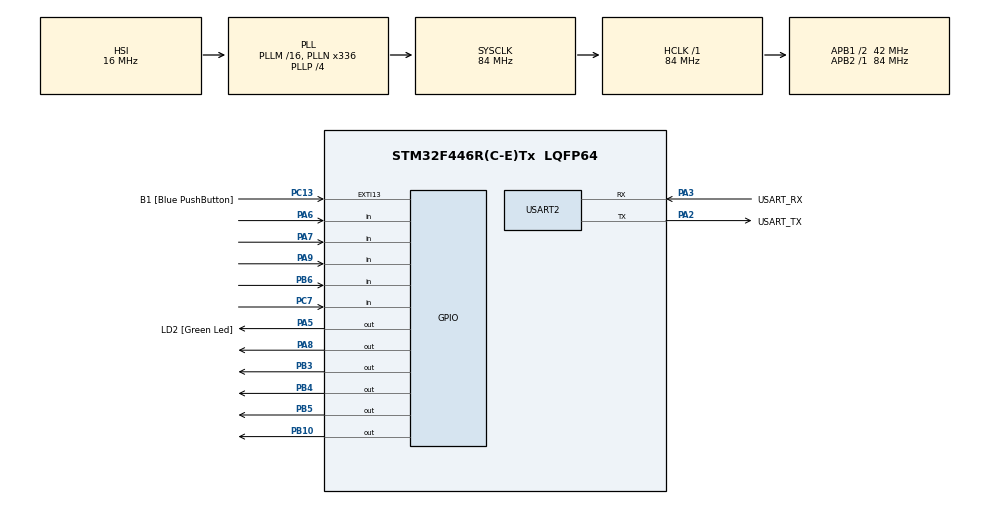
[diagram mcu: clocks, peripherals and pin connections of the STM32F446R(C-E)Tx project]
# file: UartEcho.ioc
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Mcu.Family=STM32F4
Mcu.Name=STM32F446R(C-E)Tx
Mcu.Package=LQFP64
NVIC.PriorityGroup=NVIC_PRIORITYGROUP_0
NVIC.USART2_IRQn=true\:0\:0\:false\:false\:true\:true\:true\:true
PA13.GPIO_Label=TMS
PA13.Mode=Serial_Wire
PA13.Signal=SYS_JTMS-SWDIO
PA14.GPIO_Label=TCK
PA14.Mode=Serial_Wire
PA14.Signal=SYS_JTCK-SWCLK
PA2.GPIO_Label=USART_TX
PA2.Mode=Asynchronous
PA2.Signal=USART2_TX
PA3.GPIO_Label=USART_RX
PA3.Mode=Asynchronous
PA3.Signal=USART2_RX
PA5.GPIO_Label=LD2 [Green Led]
PA5.Signal=GPIO_Output
PA6.GPIO_PuPd=GPIO_PULLDOWN
PA6.Signal=GPIO_Input
PA7.GPIO_PuPd=GPIO_PULLDOWN
PA7.Signal=GPIO_Input
PA8.Signal=GPIO_Output
PA9.GPIO_PuPd=GPIO_PULLDOWN
PA9.Signal=GPIO_Input
PB10.Signal=GPIO_Output
PB3.Signal=GPIO_Output
PB4.Signal=GPIO_Output
PB5.Signal=GPIO_Output
PB6.GPIO_PuPd=GPIO_PULLDOWN
PB6.Signal=GPIO_Input
PC13.GPIO_Label=B1 [Blue PushButton]
PC13.GPIO_ModeDefaultEXTI=GPIO_MODE_IT_FALLING
PC13.Signal=GPXTI13
PC14-OSC32_IN.Mode=LSE-External-Oscillator
PC14-OSC32_IN.Signal=RCC_OSC32_IN
PC15-OSC32_OUT.Mode=LSE-External-Oscillator
PC15-OSC32_OUT.Signal=RCC_OSC32_OUT
PC7.GPIO_PuPd=GPIO_PULLDOWN
PC7.Signal=GPIO_Input
PH0-OSC_IN.Mode=HSE-External-Oscillator
PH0-OSC_IN.Signal=RCC_OSC_IN
PH1-OSC_OUT.Mode=HSE-External-Oscillator
PH1-OSC_OUT.Signal=RCC_OSC_OUT
ProjectManager.HeapSize=0x200
ProjectManager.StackSize=0x400
ProjectManager.TargetToolchain=STM32CubeIDE
RCC.48MHZClocksFreq_Value=84000000
RCC.AHBFreq_Value=84000000
RCC.APB1CLKDivider=RCC_HCLK_DIV2
RCC.APB1Freq_Value=42000000
RCC.APB1TimFreq_Value=84000000
RCC.APB2Freq_Value=84000000
RCC.APB2TimFreq_Value=84000000
RCC.CortexFreq_Value=84000000
RCC.FLatency-AdvancedSettings=FLASH_LATENCY_2
RCC.HCLKFreq_Value=84000000
RCC.HSE_VALUE=8000000
RCC.HSI_VALUE=16000000
RCC.PLLN=336
RCC.PLLP=RCC_PLLP_DIV4
RCC.SYSCLKFreq_VALUE=84000000
RCC.SYSCLKSource=RCC_SYSCLKSOURCE_PLLCLK
RCC.USBFreq_Value=168000000
RCC.VCOOutputFreq_Value=336000000
USART2.VirtualMode=VM_ASYNC
board=NUCLEO-F446RE

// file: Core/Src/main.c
/* USER CODE BEGIN Header */
/**
  ******************************************************************************
  * @file           : main.c
  * @brief          : Main program body
  ******************************************************************************
  * @attention
  *
  * Copyright (c) 2025 STMicroelectronics.
  * All rights reserved.
  *
  * This software is licensed under terms that can be found in the LICENSE file
  * in the root directory of this software component.
  * If no LICENSE file comes with this software, it is provided AS-IS.
  *
  ******************************************************************************
  */
/* USER CODE END Header */
#include "main.h"

/* USER CODE BEGIN Includes */
#include "string.h"
#include "FlexiKeyboard.h"
#include <stdlib.h>
#include <stdio.h>
/* USER CODE END Includes */

/* USER CODE BEGIN PD */
#define RX_BUFFER_SIZE 100
/* USER CODE END PD */

UART_HandleTypeDef huart2;

/* USER CODE BEGIN PV */
uint8_t rxBuffer[RX_BUFFER_SIZE];   // buffer for receiving
uint8_t rxData;                     // single byte buffer
uint16_t rxIndex = 0;
int blinks = 0;
/* USER CODE END PV */

void SystemClock_Config(void);
static void MX_GPIO_Init(void);
static void MX_USART2_UART_Init(void);
/* USER CODE BEGIN PFP */
void maybeBlink(void);
/* USER CODE END PFP */

/* USER CODE BEGIN 0 */
int __io_putchar(int ch)
{
    HAL_UART_Transmit(&huart2, (uint8_t *)&ch, 1, HAL_MAX_DELAY);
    return ch;
}
/* USER CODE END 0 */

int main(void)
{

  /* MCU Configuration--------------------------------------------------------*/

  /* Reset of all peripherals, Initializes the Flash interface and the Systick. */
  HAL_Init();

  /* Configure the system clock */
  SystemClock_Config();

  /* Initialize all configured peripherals */
  MX_GPIO_Init();
  MX_USART2_UART_Init();
  /* USER CODE BEGIN 2 */
  HAL_UART_Receive_IT(&huart2, &rxData, 1);
  setbuf(stdout, NULL);
  /* USER CODE END 2 */

  /* Infinite loop */
  /* USER CODE BEGIN WHILE */
  while (1)
  {
    maybeBlink();
    char x = ReadFlexiKeyboard();
    if (x != KEY_NULL)
    {
      HAL_UART_Transmit(&huart2, (uint8_t *)&x, 1, HAL_MAX_DELAY);
    }
    /* USER CODE END WHILE */

  }
}

void SystemClock_Config(void)
{
  RCC_OscInitTypeDef RCC_OscInitStruct = {0};
  RCC_ClkInitTypeDef RCC_ClkInitStruct = {0};

  /** Configure the main internal regulator output voltage
  */
  __HAL_RCC_PWR_CLK_ENABLE();
  __HAL_PWR_VOLTAGESCALING_CONFIG(PWR_REGULATOR_VOLTAGE_SCALE3);

  /** Initializes the RCC Oscillators according to the specified parameters
  * in the RCC_OscInitTypeDef structure.
  */
  RCC_OscInitStruct.OscillatorType = RCC_OSCILLATORTYPE_HSI;
  RCC_OscInitStruct.HSIState = RCC_HSI_ON;
  RCC_OscInitStruct.HSICalibrationValue = RCC_HSICALIBRATION_DEFAULT;
  RCC_OscInitStruct.PLL.PLLState = RCC_PLL_ON;
  RCC_OscInitStruct.PLL.PLLSource = RCC_PLLSOURCE_HSI;
  RCC_OscInitStruct.PLL.PLLM = 16;
  RCC_OscInitStruct.PLL.PLLN = 336;
  RCC_OscInitStruct.PLL.PLLP = RCC_PLLP_DIV4;
  RCC_OscInitStruct.PLL.PLLQ = 2;
  RCC_OscInitStruct.PLL.PLLR = 2;
  if (HAL_RCC_OscConfig(&RCC_OscInitStruct) != HAL_OK)
  {
    Error_Handler();
  }

  /** Initializes the CPU, AHB and APB buses clocks
  */
  RCC_ClkInitStruct.ClockType = RCC_CLOCKTYPE_HCLK|RCC_CLOCKTYPE_SYSCLK
                              |RCC_CLOCKTYPE_PCLK1|RCC_CLOCKTYPE_PCLK2;
  RCC_ClkInitStruct.SYSCLKSource = RCC_SYSCLKSOURCE_PLLCLK;
  RCC_ClkInitStruct.AHBCLKDivider = RCC_SYSCLK_DIV1;
  RCC_ClkInitStruct.APB1CLKDivider = RCC_HCLK_DIV2;
  RCC_ClkInitStruct.APB2CLKDivider = RCC_HCLK_DIV1;

  if (HAL_RCC_ClockConfig(&RCC_ClkInitStruct, FLASH_LATENCY_2) != HAL_OK)
  {
    Error_Handler();
  }
}

static void MX_USART2_UART_Init(void)
{

  huart2.Instance = USART2;
  huart2.Init.BaudRate = 115200;
  huart2.Init.WordLength = UART_WORDLENGTH_8B;
  huart2.Init.StopBits = UART_STOPBITS_1;
  huart2.Init.Parity = UART_PARITY_NONE;
  huart2.Init.Mode = UART_MODE_TX_RX;
  huart2.Init.HwFlowCtl = UART_HWCONTROL_NONE;
  huart2.Init.OverSampling = UART_OVERSAMPLING_16;
  if (HAL_UART_Init(&huart2) != HAL_OK)
  {
    Error_Handler();
  }

}

static void MX_GPIO_Init(void)
{
  GPIO_InitTypeDef GPIO_InitStruct = {0};

  /* GPIO Ports Clock Enable */
  __HAL_RCC_GPIOC_CLK_ENABLE();
  __HAL_RCC_GPIOH_CLK_ENABLE();
  __HAL_RCC_GPIOA_CLK_ENABLE();
  __HAL_RCC_GPIOB_CLK_ENABLE();

  /*Configure GPIO pin Output Level */
  HAL_GPIO_WritePin(GPIOA, LD2_Pin|GPIO_PIN_8, GPIO_PIN_RESET);

  /*Configure GPIO pin Output Level */
  HAL_GPIO_WritePin(GPIOB, GPIO_PIN_10|GPIO_PIN_3|GPIO_PIN_4|GPIO_PIN_5, GPIO_PIN_RESET);

  /*Configure GPIO pin : B1_Pin */
  GPIO_InitStruct.Pin = B1_Pin;
  GPIO_InitStruct.Mode = GPIO_MODE_IT_FALLING;
  GPIO_InitStruct.Pull = GPIO_NOPULL;
  HAL_GPIO_Init(B1_GPIO_Port, &GPIO_InitStruct);

  /*Configure GPIO pins : LD2_Pin PA8 */
  GPIO_InitStruct.Pin = LD2_Pin|GPIO_PIN_8;
  GPIO_InitStruct.Mode = GPIO_MODE_OUTPUT_PP;
  GPIO_InitStruct.Pull = GPIO_NOPULL;
  GPIO_InitStruct.Speed = GPIO_SPEED_FREQ_LOW;
  HAL_GPIO_Init(GPIOA, &GPIO_InitStruct);

  /*Configure GPIO pins : PA6 PA7 PA9 */
  GPIO_InitStruct.Pin = GPIO_PIN_6|GPIO_PIN_7|GPIO_PIN_9;
  GPIO_InitStruct.Mode = GPIO_MODE_INPUT;
  GPIO_InitStruct.Pull = GPIO_PULLDOWN;
  HAL_GPIO_Init(GPIOA, &GPIO_InitStruct);

  /*Configure GPIO pins : PB10 PB3 PB4 PB5 */
  GPIO_InitStruct.Pin = GPIO_PIN_10|GPIO_PIN_3|GPIO_PIN_4|GPIO_PIN_5;
  GPIO_InitStruct.Mode = GPIO_MODE_OUTPUT_PP;
  GPIO_InitStruct.Pull = GPIO_NOPULL;
  GPIO_InitStruct.Speed = GPIO_SPEED_FREQ_LOW;
  HAL_GPIO_Init(GPIOB, &GPIO_InitStruct);

  /*Configure GPIO pin : PC7 */
  GPIO_InitStruct.Pin = GPIO_PIN_7;
  GPIO_InitStruct.Mode = GPIO_MODE_INPUT;
  GPIO_InitStruct.Pull = GPIO_PULLDOWN;
  HAL_GPIO_Init(GPIOC, &GPIO_InitStruct);

  /*Configure GPIO pin : PB6 */
  GPIO_InitStruct.Pin = GPIO_PIN_6;
  GPIO_InitStruct.Mode = GPIO_MODE_INPUT;
  GPIO_InitStruct.Pull = GPIO_PULLDOWN;
  HAL_GPIO_Init(GPIOB, &GPIO_InitStruct);

}

/* USER CODE BEGIN 4 */
void maybeBlink(void)
{
  static uint32_t lastTick = 0;
  static uint8_t ledOn = 0;

  if (blinks > 0)
  {
    uint32_t now = HAL_GetTick();

    if ((now - lastTick) >= 300)   // 300 ms elapsed
    {
      HAL_GPIO_TogglePin(LD2_GPIO_Port, LD2_Pin);
      lastTick = now;
      ledOn = !ledOn;

      if (ledOn == 0)  // LED just turned off -> completed one blink cycle
      {
        blinks--;
      }
    }
  } else {
    HAL_GPIO_WritePin(LD2_GPIO_Port, LD2_Pin, GPIO_PIN_RESET);
  }
}

void HAL_UART_RxCpltCallback(UART_HandleTypeDef *huart)
{
  if (huart->Instance == USART2)
  {
    if (rxData == 's')   // Stop command
    {
      blinks = 0;

      char msg[] = "Stopped blinking\r\n";
      HAL_UART_Transmit(&huart2, (uint8_t*)msg, strlen(msg), HAL_MAX_DELAY);

      rxIndex = 0;   // reset buffer (optional, in case something was half-typed)
    }
    else if (rxData == '\n' || rxData == '\r')   // End of line
    {
      // Add terminator
      rxBuffer[rxIndex] = 0;

      int value = atoi((char*)rxBuffer);
      if (value > 0)
      {
        blinks = value;

        char msg[50];
        sprintf(msg, "Blinking %d times...\r\n", blinks);
        HAL_UART_Transmit(&huart2, (uint8_t*)msg, strlen(msg), HAL_MAX_DELAY);
      }
      else
      {
        char msg[] = "Invalid number\r\n";
        HAL_UART_Transmit(&huart2, (uint8_t*)msg, strlen(msg), HAL_MAX_DELAY);
      }

      rxIndex = 0;   // reset buffer

      // Echo back
//      HAL_UART_Transmit(&huart2, rxBuffer, rxIndex, HAL_MAX_DELAY);
//      HAL_UART_Transmit(&huart2, (uint8_t*)"\r\n", 2, HAL_MAX_DELAY);

      rxIndex = 0;   // reset buffer
    }
    else
    {
      if (rxIndex < RX_BUFFER_SIZE - 1)
      {
        rxBuffer[rxIndex++] = rxData;
      }
    }

    // Restart interrupt reception for next byte
    HAL_UART_Receive_IT(&huart2, &rxData, 1);
  }
}
/* USER CODE END 4 */

void Error_Handler(void)
{
  __disable_irq();
  while (1)
  {
  }
}
